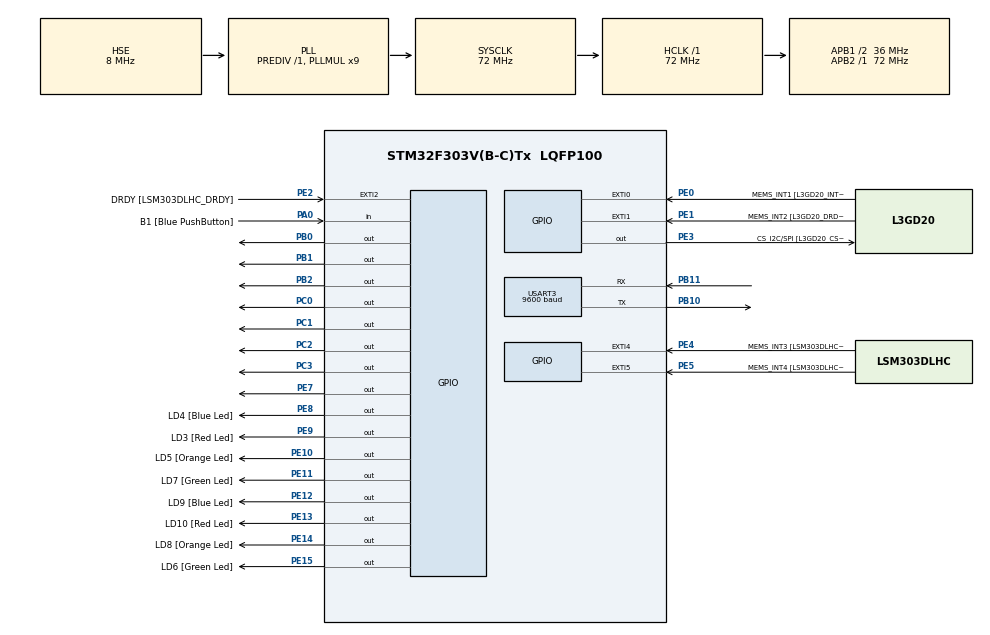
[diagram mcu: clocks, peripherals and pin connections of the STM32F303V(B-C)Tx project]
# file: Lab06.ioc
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Mcu.Family=STM32F3
Mcu.Name=STM32F303V(B-C)Tx
Mcu.Package=LQFP100
NVIC.PriorityGroup=NVIC_PRIORITYGROUP_4
NVIC.USART3_IRQn=true\:1\:0\:true\:false\:true\:true\:true
PA0.GPIO_Label=B1 [Blue PushButton]
PA0.GPIO_Mode=GPIO_MODE_INPUT
PA0.GPIO_PuPd=GPIO_NOPULL
PA0.Signal=GPIO_Input
PA11.GPIO_Label=DM
PA11.Signal=USB_DM
PA12.GPIO_Label=DP
PA12.Signal=USB_DP
PA13.GPIO_Label=SWDIO
PA13.Signal=SYS_JTMS-SWDIO
PA14.GPIO_Label=SWCLK
PA14.Signal=SYS_JTCK-SWCLK
PA5.GPIO_Label=SPI1_SCK [L3GD20_SCL/SPC]
PA5.GPIO_Mode=GPIO_MODE_AF_PP
PA5.GPIO_PuPd=GPIO_NOPULL
PA5.GPIO_Speed=GPIO_SPEED_FREQ_LOW
PA5.Signal=SPI1_SCK
PA6.GPIO_Label=SPI1_MISO [L3GD20_SA0/SDO]
PA6.GPIO_Mode=GPIO_MODE_AF_PP
PA6.GPIO_PuPd=GPIO_NOPULL
PA6.GPIO_Speed=GPIO_SPEED_FREQ_LOW
PA6.Signal=SPI1_MISO
PA7.GPIO_Label=SPI1_MISO [L3GD20_SDA/SDI/SDO]
PA7.GPIO_Mode=GPIO_MODE_AF_PP
PA7.GPIO_PuPd=GPIO_NOPULL
PA7.GPIO_Speed=GPIO_SPEED_FREQ_LOW
PA7.Signal=SPI1_MOSI
PB0.Signal=GPIO_Output
PB1.Signal=GPIO_Output
PB10.Mode=Asynchronous
PB10.Signal=USART3_TX
PB11.Mode=Asynchronous
PB11.Signal=USART3_RX
PB2.Signal=GPIO_Output
PB3.GPIO_Label=SWO
PB3.Signal=SYS_JTDO-TRACESWO
PB6.GPIO_FM6=__NULL
PB6.GPIO_Label=I2C1_SCL [LSM303DLHC_SCL]
PB6.GPIO_Mode=GPIO_MODE_AF_OD
PB6.GPIO_PuPd=GPIO_NOPULL
PB6.GPIO_Speed=GPIO_SPEED_FREQ_LOW
PB6.Signal=I2C1_SCL
PB7.GPIO_FM7=__NULL
PB7.GPIO_Label=I2C1_SDA [LSM303DLHC_SDA]
PB7.GPIO_Mode=GPIO_MODE_AF_OD
PB7.GPIO_PuPd=GPIO_NOPULL
PB7.GPIO_Speed=GPIO_SPEED_FREQ_LOW
PB7.Signal=I2C1_SDA
PC0.Signal=GPIO_Output
PC1.Signal=GPIO_Output
PC14-OSC32_IN.GPIO_Label=OSC32_IN
PC14-OSC32_IN.Signal=RCC_OSC32_IN
PC15-OSC32_OUT.GPIO_Label=OSC32_OUT
PC15-OSC32_OUT.Signal=RCC_OSC32_OUT
PC2.Signal=GPIO_Output
PC3.Signal=GPIO_Output
PE0.GPIO_Label=MEMS_INT1 [L3GD20_INT1]
PE0.GPIO_ModeDefaultEXTI=GPIO_MODE_EVT_RISING
PE0.GPIO_PuPd=GPIO_NOPULL
PE0.Signal=GPXTI0
PE1.GPIO_Label=MEMS_INT2 [L3GD20_DRDY/INT2]
PE1.GPIO_ModeDefaultEXTI=GPIO_MODE_EVT_RISING
PE1.GPIO_PuPd=GPIO_NOPULL
PE1.Signal=GPXTI1
PE10.GPIO_Label=LD5 [Orange Led]
PE10.GPIO_ModeDefaultOutputPP=GPIO_MODE_OUTPUT_PP
PE10.GPIO_PuPd=GPIO_NOPULL
PE10.GPIO_Speed=GPIO_SPEED_FREQ_LOW
PE10.Signal=GPIO_Output
PE11.GPIO_Label=LD7 [Green Led]
PE11.GPIO_ModeDefaultOutputPP=GPIO_MODE_OUTPUT_PP
PE11.GPIO_PuPd=GPIO_NOPULL
PE11.GPIO_Speed=GPIO_SPEED_FREQ_LOW
PE11.Signal=GPIO_Output
PE12.GPIO_Label=LD9 [Blue Led]
PE12.GPIO_ModeDefaultOutputPP=GPIO_MODE_OUTPUT_PP
PE12.GPIO_PuPd=GPIO_NOPULL
PE12.GPIO_Speed=GPIO_SPEED_FREQ_LOW
PE12.Signal=GPIO_Output
PE13.GPIO_Label=LD10 [Red Led]
PE13.GPIO_ModeDefaultOutputPP=GPIO_MODE_OUTPUT_PP
PE13.GPIO_PuPd=GPIO_NOPULL
PE13.GPIO_Speed=GPIO_SPEED_FREQ_LOW
PE13.Signal=GPIO_Output
PE14.GPIO_Label=LD8 [Orange Led]
PE14.GPIO_ModeDefaultOutputPP=GPIO_MODE_OUTPUT_PP
PE14.GPIO_PuPd=GPIO_NOPULL
PE14.GPIO_Speed=GPIO_SPEED_FREQ_LOW
PE14.Signal=GPIO_Output
PE15.GPIO_Label=LD6 [Green Led]
PE15.GPIO_ModeDefaultOutputPP=GPIO_MODE_OUTPUT_PP
PE15.GPIO_PuPd=GPIO_NOPULL
PE15.GPIO_Speed=GPIO_SPEED_FREQ_LOW
PE15.Signal=GPIO_Output
PE2.GPIO_Label=DRDY [LSM303DLHC_DRDY]
PE2.GPIO_ModeDefaultEXTI=GPIO_MODE_EVT_RISING
PE2.GPIO_PuPd=GPIO_NOPULL
PE2.Signal=GPXTI2
PE3.GPIO_Label=CS_I2C/SPI [L3GD20_CS_I2C/SPI]
PE3.GPIO_ModeDefaultOutputPP=GPIO_MODE_OUTPUT_PP
PE3.GPIO_PuPd=GPIO_NOPULL
PE3.GPIO_Speed=GPIO_SPEED_FREQ_LOW
PE3.Signal=GPIO_Output
PE4.GPIO_Label=MEMS_INT3 [LSM303DLHC_INT1]
PE4.GPIO_ModeDefaultEXTI=GPIO_MODE_EVT_RISING
PE4.GPIO_PuPd=GPIO_NOPULL
PE4.Signal=GPXTI4
PE5.GPIO_Label=MEMS_INT4 [LSM303DLHC_INT2]
PE5.GPIO_ModeDefaultEXTI=GPIO_MODE_EVT_RISING
PE5.GPIO_PuPd=GPIO_NOPULL
PE5.Signal=GPXTI5
PE7.Signal=GPIO_Output
PE8.GPIO_Label=LD4 [Blue Led]
PE8.GPIO_ModeDefaultOutputPP=GPIO_MODE_OUTPUT_PP
PE8.GPIO_PuPd=GPIO_NOPULL
PE8.GPIO_Speed=GPIO_SPEED_FREQ_LOW
PE8.Signal=GPIO_Output
PE9.GPIO_Label=LD3 [Red Led]
PE9.GPIO_ModeDefaultOutputPP=GPIO_MODE_OUTPUT_PP
PE9.GPIO_PuPd=GPIO_NOPULL
PE9.GPIO_Speed=GPIO_SPEED_FREQ_LOW
PE9.Signal=GPIO_Output
PF0-OSC_IN.GPIO_Label=OSC_IN
PF0-OSC_IN.Mode=HSE-External-Clock-Source
PF0-OSC_IN.Signal=RCC_OSC_IN
PF1-OSC_OUT.GPIO_Label=OSC_OUT
PF1-OSC_OUT.Signal=RCC_OSC_OUT
ProjectManager.HeapSize=0x200
ProjectManager.StackSize=0x400
ProjectManager.TargetToolchain=MDK-ARM V5
RCC.AHBFreq_Value=72000000
RCC.APB1CLKDivider=RCC_HCLK_DIV2
RCC.APB1Freq_Value=36000000
RCC.APB1TimFreq_Value=72000000
RCC.APB2Freq_Value=72000000
RCC.APB2TimFreq_Value=72000000
RCC.CortexFreq_Value=72000000
RCC.HCLKFreq_Value=72000000
RCC.HSE_VALUE=8000000
RCC.HSI_VALUE=8000000
RCC.LSE_VALUE=32768
RCC.PLLMUL=RCC_PLL_MUL9
RCC.PLLSourceVirtual=RCC_PLLSOURCE_HSE
RCC.SYSCLKFreq_VALUE=72000000
RCC.SYSCLKSourceVirtual=RCC_SYSCLKSOURCE_PLLCLK
RCC.USBFreq_Value=72000000
USART3.BaudRate=9600
USART3.VirtualMode-Asynchronous=VM_ASYNC
board=STM32F3DISCOVERY

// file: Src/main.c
/* USER CODE BEGIN Header */
/**
  ******************************************************************************
  * @file           : main.c
  * @brief          : Main program body
  ******************************************************************************
  * @attention
  *
  * <h2><center>&copy; Copyright (c) 2019 STMicroelectronics.
  * All rights reserved.</center></h2>
  *
  * This software component is licensed by ST under BSD 3-Clause license,
  * the "License"; You may not use this file except in compliance with the
  * License. You may obtain a copy of the License at:
  *                        opensource.org/licenses/BSD-3-Clause
  *
  ******************************************************************************
  */
/* USER CODE END Header */

#include "main.h"

/* USER CODE BEGIN Includes */
#include "koibitoex_lcd2.h"
/* USER CODE END Includes */

UART_HandleTypeDef huart3;

void SystemClock_Config(void);
static void MX_GPIO_Init(void);
static void MX_USART3_UART_Init(void);

/* USER CODE BEGIN 0 */
uint8_t txCount;
uint8_t rxCount;
uint8_t ch;
uint8_t rxBuffer[100];
uint8_t rxBufferIdx = 0;
/* USER CODE END 0 */

int main(void)
{

  /* MCU Configuration--------------------------------------------------------*/

  /* Reset of all peripherals, Initializes the Flash interface and the Systick. */
  HAL_Init();

  /* Configure the system clock */
  SystemClock_Config();

  /* Initialize all configured peripherals */
  MX_GPIO_Init();
  MX_USART3_UART_Init();
  /* USER CODE BEGIN 2 */

	LcdInit();
	LcdCls(LCD_CLS_ALL);
	LcdSetBackLight(LCD_BACKLIGHT_ON);
	LcdSetCursor(LCD_CURSOR_OFF);

	LcdSetPosition(LCD_LINE_1, 0);
	LcdPutS("Hello");
	HAL_UART_Receive_IT(&huart3, &ch, 1);

  /* USER CODE END 2 */

  /* Infinite loop */
  /* USER CODE BEGIN WHILE */
  while (1)
  {
		//HAL_UART_Transmit_IT(&huart3,"CHAIWIT\r\n",9);
		HAL_Delay(200);
    /* USER CODE END WHILE */

  }
}

void SystemClock_Config(void)
{
  RCC_OscInitTypeDef RCC_OscInitStruct = {0};
  RCC_ClkInitTypeDef RCC_ClkInitStruct = {0};
  RCC_PeriphCLKInitTypeDef PeriphClkInit = {0};

  /** Initializes the CPU, AHB and APB busses clocks
  */
  RCC_OscInitStruct.OscillatorType = RCC_OSCILLATORTYPE_HSE;
  RCC_OscInitStruct.HSEState = RCC_HSE_BYPASS;
  RCC_OscInitStruct.HSEPredivValue = RCC_HSE_PREDIV_DIV1;
  RCC_OscInitStruct.HSIState = RCC_HSI_ON;
  RCC_OscInitStruct.PLL.PLLState = RCC_PLL_ON;
  RCC_OscInitStruct.PLL.PLLSource = RCC_PLLSOURCE_HSE;
  RCC_OscInitStruct.PLL.PLLMUL = RCC_PLL_MUL9;
  if (HAL_RCC_OscConfig(&RCC_OscInitStruct) != HAL_OK)
  {
    Error_Handler();
  }
  /** Initializes the CPU, AHB and APB busses clocks
  */
  RCC_ClkInitStruct.ClockType = RCC_CLOCKTYPE_HCLK|RCC_CLOCKTYPE_SYSCLK
                              |RCC_CLOCKTYPE_PCLK1|RCC_CLOCKTYPE_PCLK2;
  RCC_ClkInitStruct.SYSCLKSource = RCC_SYSCLKSOURCE_PLLCLK;
  RCC_ClkInitStruct.AHBCLKDivider = RCC_SYSCLK_DIV1;
  RCC_ClkInitStruct.APB1CLKDivider = RCC_HCLK_DIV2;
  RCC_ClkInitStruct.APB2CLKDivider = RCC_HCLK_DIV1;

  if (HAL_RCC_ClockConfig(&RCC_ClkInitStruct, FLASH_LATENCY_2) != HAL_OK)
  {
    Error_Handler();
  }
  PeriphClkInit.PeriphClockSelection = RCC_PERIPHCLK_USART3;
  PeriphClkInit.Usart3ClockSelection = RCC_USART3CLKSOURCE_PCLK1;
  if (HAL_RCCEx_PeriphCLKConfig(&PeriphClkInit) != HAL_OK)
  {
    Error_Handler();
  }
}

static void MX_USART3_UART_Init(void)
{

  huart3.Instance = USART3;
  huart3.Init.BaudRate = 9600;
  huart3.Init.WordLength = UART_WORDLENGTH_8B;
  huart3.Init.StopBits = UART_STOPBITS_1;
  huart3.Init.Parity = UART_PARITY_NONE;
  huart3.Init.Mode = UART_MODE_TX_RX;
  huart3.Init.HwFlowCtl = UART_HWCONTROL_NONE;
  huart3.Init.OverSampling = UART_OVERSAMPLING_16;
  huart3.Init.OneBitSampling = UART_ONE_BIT_SAMPLE_DISABLE;
  huart3.AdvancedInit.AdvFeatureInit = UART_ADVFEATURE_NO_INIT;
  if (HAL_UART_Init(&huart3) != HAL_OK)
  {
    Error_Handler();
  }

}

static void MX_GPIO_Init(void)
{
  GPIO_InitTypeDef GPIO_InitStruct = {0};

  /* GPIO Ports Clock Enable */
  __HAL_RCC_GPIOE_CLK_ENABLE();
  __HAL_RCC_GPIOC_CLK_ENABLE();
  __HAL_RCC_GPIOF_CLK_ENABLE();
  __HAL_RCC_GPIOA_CLK_ENABLE();
  __HAL_RCC_GPIOB_CLK_ENABLE();

  /*Configure GPIO pin Output Level */
  HAL_GPIO_WritePin(GPIOE, CS_I2C_SPI_Pin|GPIO_PIN_7|LD4_Pin|LD3_Pin
                          |LD5_Pin|LD7_Pin|LD9_Pin|LD10_Pin
                          |LD8_Pin|LD6_Pin, GPIO_PIN_RESET);

  /*Configure GPIO pin Output Level */
  HAL_GPIO_WritePin(GPIOC, GPIO_PIN_0|GPIO_PIN_1|GPIO_PIN_2|GPIO_PIN_3, GPIO_PIN_RESET);

  /*Configure GPIO pin Output Level */
  HAL_GPIO_WritePin(GPIOB, GPIO_PIN_0|GPIO_PIN_1|GPIO_PIN_2, GPIO_PIN_RESET);

  /*Configure GPIO pins : DRDY_Pin MEMS_INT3_Pin MEMS_INT4_Pin MEMS_INT1_Pin
                           MEMS_INT2_Pin */
  GPIO_InitStruct.Pin = DRDY_Pin|MEMS_INT3_Pin|MEMS_INT4_Pin|MEMS_INT1_Pin
                          |MEMS_INT2_Pin;
  GPIO_InitStruct.Mode = GPIO_MODE_EVT_RISING;
  GPIO_InitStruct.Pull = GPIO_NOPULL;
  HAL_GPIO_Init(GPIOE, &GPIO_InitStruct);

  /*Configure GPIO pins : CS_I2C_SPI_Pin PE7 LD4_Pin LD3_Pin
                           LD5_Pin LD7_Pin LD9_Pin LD10_Pin
                           LD8_Pin LD6_Pin */
  GPIO_InitStruct.Pin = CS_I2C_SPI_Pin|GPIO_PIN_7|LD4_Pin|LD3_Pin
                          |LD5_Pin|LD7_Pin|LD9_Pin|LD10_Pin
                          |LD8_Pin|LD6_Pin;
  GPIO_InitStruct.Mode = GPIO_MODE_OUTPUT_PP;
  GPIO_InitStruct.Pull = GPIO_NOPULL;
  GPIO_InitStruct.Speed = GPIO_SPEED_FREQ_LOW;
  HAL_GPIO_Init(GPIOE, &GPIO_InitStruct);

  /*Configure GPIO pins : PC0 PC1 PC2 PC3 */
  GPIO_InitStruct.Pin = GPIO_PIN_0|GPIO_PIN_1|GPIO_PIN_2|GPIO_PIN_3;
  GPIO_InitStruct.Mode = GPIO_MODE_OUTPUT_PP;
  GPIO_InitStruct.Pull = GPIO_NOPULL;
  GPIO_InitStruct.Speed = GPIO_SPEED_FREQ_LOW;
  HAL_GPIO_Init(GPIOC, &GPIO_InitStruct);

  /*Configure GPIO pin : B1_Pin */
  GPIO_InitStruct.Pin = B1_Pin;
  GPIO_InitStruct.Mode = GPIO_MODE_INPUT;
  GPIO_InitStruct.Pull = GPIO_NOPULL;
  HAL_GPIO_Init(B1_GPIO_Port, &GPIO_InitStruct);

  /*Configure GPIO pins : SPI1_SCK_Pin SPI1_MISO_Pin SPI1_MISOA7_Pin */
  GPIO_InitStruct.Pin = SPI1_SCK_Pin|SPI1_MISO_Pin|SPI1_MISOA7_Pin;
  GPIO_InitStruct.Mode = GPIO_MODE_AF_PP;
  GPIO_InitStruct.Pull = GPIO_NOPULL;
  GPIO_InitStruct.Speed = GPIO_SPEED_FREQ_LOW;
  GPIO_InitStruct.Alternate = GPIO_AF5_SPI1;
  HAL_GPIO_Init(GPIOA, &GPIO_InitStruct);

  /*Configure GPIO pins : PB0 PB1 PB2 */
  GPIO_InitStruct.Pin = GPIO_PIN_0|GPIO_PIN_1|GPIO_PIN_2;
  GPIO_InitStruct.Mode = GPIO_MODE_OUTPUT_PP;
  GPIO_InitStruct.Pull = GPIO_NOPULL;
  GPIO_InitStruct.Speed = GPIO_SPEED_FREQ_LOW;
  HAL_GPIO_Init(GPIOB, &GPIO_InitStruct);

  /*Configure GPIO pins : DM_Pin DP_Pin */
  GPIO_InitStruct.Pin = DM_Pin|DP_Pin;
  GPIO_InitStruct.Mode = GPIO_MODE_AF_PP;
  GPIO_InitStruct.Pull = GPIO_NOPULL;
  GPIO_InitStruct.Speed = GPIO_SPEED_FREQ_HIGH;
  GPIO_InitStruct.Alternate = GPIO_AF14_USB;
  HAL_GPIO_Init(GPIOA, &GPIO_InitStruct);

  /*Configure GPIO pins : I2C1_SCL_Pin I2C1_SDA_Pin */
  GPIO_InitStruct.Pin = I2C1_SCL_Pin|I2C1_SDA_Pin;
  GPIO_InitStruct.Mode = GPIO_MODE_AF_OD;
  GPIO_InitStruct.Pull = GPIO_PULLUP;
  GPIO_InitStruct.Speed = GPIO_SPEED_FREQ_LOW;
  GPIO_InitStruct.Alternate = GPIO_AF4_I2C1;
  HAL_GPIO_Init(GPIOB, &GPIO_InitStruct);

}

/* USER CODE BEGIN 4 */
void HAL_UART_TxCpltCallback(UART_HandleTypeDef *huart){
	txCount++;
}

void HAL_UART_RxCpltCallback(UART_HandleTypeDef *huart){
	rxCount++;
	HAL_UART_Transmit_IT(&huart3, &ch,1);
	HAL_UART_Receive_IT(&huart3, &ch,1);
	if (ch == 0x0D){
			rxBuffer[rxBufferIdx] = 0;
			LcdCls(LCD_CLS_ALL);
			LcdSetPosition(LCD_LINE_1, 0);
			LcdPutS(rxBuffer);
			rxBufferIdx = 0;

	}else{
		rxBuffer[rxBufferIdx] = ch;
		rxBufferIdx++;
	}
}
/* USER CODE END 4 */

void Error_Handler(void)
{
}

/************************ (C) COPYRIGHT STMicroelectronics *****END OF FILE****/
